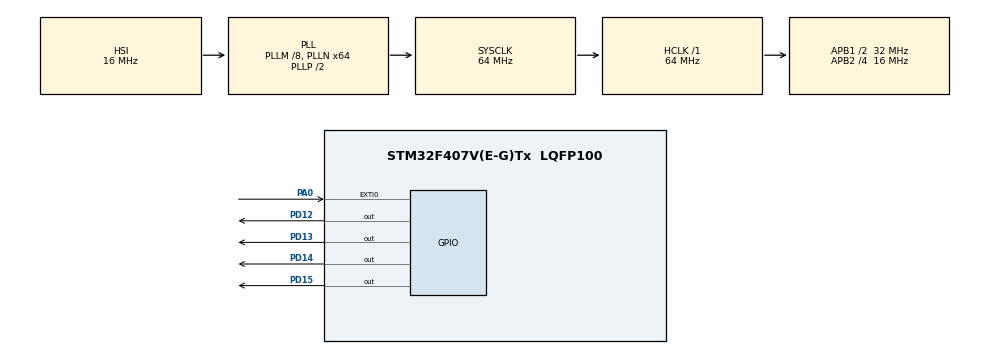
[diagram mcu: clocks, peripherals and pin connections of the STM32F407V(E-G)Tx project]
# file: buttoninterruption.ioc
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Mcu.Family=STM32F4
Mcu.Name=STM32F407V(E-G)Tx
Mcu.Package=LQFP100
NVIC.EXTI0_IRQn=true\:0\:1\:true\:false\:true\:true\:true
NVIC.PriorityGroup=NVIC_PRIORITYGROUP_0
NVIC.TIM8_TRG_COM_TIM14_IRQn=true\:0\:0\:false\:false\:true\:false\:true
NVIC.TimeBase=TIM8_TRG_COM_TIM14_IRQn
NVIC.TimeBaseIP=TIM14
PA0-WKUP.GPIO_ModeDefaultEXTI=GPIO_MODE_IT_FALLING
PA0-WKUP.Signal=GPXTI0
PD12.Signal=GPIO_Output
PD13.Signal=GPIO_Output
PD14.Signal=GPIO_Output
PD15.Signal=GPIO_Output
ProjectManager.HeapSize=0x200
ProjectManager.StackSize=0x400
ProjectManager.TargetToolchain=STM32CubeIDE
RCC.48MHZClocksFreq_Value=18285714.285714287
RCC.AHBFreq_Value=64000000
RCC.APB1CLKDivider=RCC_HCLK_DIV2
RCC.APB1Freq_Value=32000000
RCC.APB1TimFreq_Value=64000000
RCC.APB2CLKDivider=RCC_HCLK_DIV4
RCC.APB2Freq_Value=16000000
RCC.APB2TimFreq_Value=32000000
RCC.CortexFreq_Value=64000000
RCC.HCLKFreq_Value=64000000
RCC.HSE_VALUE=8000000
RCC.HSI_VALUE=16000000
RCC.PLLM=8
RCC.PLLN=64
RCC.PLLQ=7
RCC.SYSCLKFreq_VALUE=64000000
RCC.SYSCLKSource=RCC_SYSCLKSOURCE_PLLCLK
RCC.VCOOutputFreq_Value=128000000
VP_SYS_VS_tim14.Mode=TIM14
board=STM32F407G-DISC1

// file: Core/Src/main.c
/* USER CODE BEGIN Header */
/**
  ******************************************************************************
  * @file           : main.c
  * @brief          : Main program body
  ******************************************************************************
  * @attention
  *
  * <h2><center>&copy; Copyright (c) 2023 STMicroelectronics.
  * All rights reserved.</center></h2>
  *
  * This software component is licensed by ST under BSD 3-Clause license,
  * the "License"; You may not use this file except in compliance with the
  * License. You may obtain a copy of the License at:
  *                        opensource.org/licenses/BSD-3-Clause
  *
  ******************************************************************************
  */
/* USER CODE END Header */
#include "main.h"

void SystemClock_Config(void);
static void MX_GPIO_Init(void);
/* USER CODE BEGIN PFP */
uint8_t modeselection = 0 ;
/* USER CODE END PFP */

/* USER CODE BEGIN 0 */
void HAL_GPIO_EXTI_Callback(uint16_t GPIO_Pin)
{
  /* Prevent unused argument(s) compilation warning */
  UNUSED(GPIO_Pin);
  /* NOTE: This function Should not be modified, when the callback is needed,
           the HAL_GPIO_EXTI_Callback could be implemented in the user file
   */
  if (GPIO_Pin == GPIO_PIN_0) {
	  modeselection ++ ;
	  if (modeselection > 4) {
		  modeselection = 0 ;

	}
}
}
/* USER CODE END 0 */

int main(void)
{

  /* MCU Configuration--------------------------------------------------------*/

  /* Reset of all peripherals, Initializes the Flash interface and the Systick. */
  HAL_Init();

  /* Configure the system clock */
  SystemClock_Config();

  /* Initialize all configured peripherals */
  MX_GPIO_Init();

  /* Infinite loop */
  while (1)
  {

    /* USER CODE BEGIN 3 */
	  if (modeselection == 0 ) {
		  HAL_GPIO_WritePin(GPIOD, GPIO_PIN_12|GPIO_PIN_13|GPIO_PIN_14|GPIO_PIN_15, GPIO_PIN_RESET);
		  HAL_GPIO_WritePin(GPIOD, GPIO_PIN_12, GPIO_PIN_SET);
		  HAL_Delay(500);

	} else if (modeselection == 1) {
		  HAL_GPIO_WritePin(GPIOD, GPIO_PIN_12, GPIO_PIN_RESET);
		  HAL_GPIO_WritePin(GPIOD, GPIO_PIN_13, GPIO_PIN_SET);
	      HAL_Delay(500);

	}else if (modeselection == 2) {
		  HAL_GPIO_WritePin(GPIOD, GPIO_PIN_13, GPIO_PIN_RESET);
		  HAL_GPIO_WritePin(GPIOD, GPIO_PIN_14, GPIO_PIN_SET);
	      HAL_Delay(500);
	}else if (modeselection == 3) {
		  HAL_GPIO_WritePin(GPIOD, GPIO_PIN_14, GPIO_PIN_RESET);
		  HAL_GPIO_WritePin(GPIOD, GPIO_PIN_15, GPIO_PIN_SET);
	      HAL_Delay(500);
	}else if (modeselection == 4) {
		HAL_GPIO_WritePin(GPIOD, GPIO_PIN_15, GPIO_PIN_RESET);
		HAL_GPIO_WritePin(GPIOD, GPIO_PIN_12|GPIO_PIN_13|GPIO_PIN_14|GPIO_PIN_15, GPIO_PIN_SET);
		  HAL_Delay(500);

	}
  }
  /* USER CODE END 3 */
}

void SystemClock_Config(void)
{
  RCC_OscInitTypeDef RCC_OscInitStruct = {0};
  RCC_ClkInitTypeDef RCC_ClkInitStruct = {0};

  /** Configure the main internal regulator output voltage
  */
  __HAL_RCC_PWR_CLK_ENABLE();
  __HAL_PWR_VOLTAGESCALING_CONFIG(PWR_REGULATOR_VOLTAGE_SCALE1);
  /** Initializes the RCC Oscillators according to the specified parameters
  * in the RCC_OscInitTypeDef structure.
  */
  RCC_OscInitStruct.OscillatorType = RCC_OSCILLATORTYPE_HSI;
  RCC_OscInitStruct.HSIState = RCC_HSI_ON;
  RCC_OscInitStruct.HSICalibrationValue = RCC_HSICALIBRATION_DEFAULT;
  RCC_OscInitStruct.PLL.PLLState = RCC_PLL_ON;
  RCC_OscInitStruct.PLL.PLLSource = RCC_PLLSOURCE_HSI;
  RCC_OscInitStruct.PLL.PLLM = 8;
  RCC_OscInitStruct.PLL.PLLN = 64;
  RCC_OscInitStruct.PLL.PLLP = RCC_PLLP_DIV2;
  RCC_OscInitStruct.PLL.PLLQ = 7;
  if (HAL_RCC_OscConfig(&RCC_OscInitStruct) != HAL_OK)
  {
    Error_Handler();
  }
  /** Initializes the CPU, AHB and APB buses clocks
  */
  RCC_ClkInitStruct.ClockType = RCC_CLOCKTYPE_HCLK|RCC_CLOCKTYPE_SYSCLK
                              |RCC_CLOCKTYPE_PCLK1|RCC_CLOCKTYPE_PCLK2;
  RCC_ClkInitStruct.SYSCLKSource = RCC_SYSCLKSOURCE_PLLCLK;
  RCC_ClkInitStruct.AHBCLKDivider = RCC_SYSCLK_DIV1;
  RCC_ClkInitStruct.APB1CLKDivider = RCC_HCLK_DIV2;
  RCC_ClkInitStruct.APB2CLKDivider = RCC_HCLK_DIV4;

  if (HAL_RCC_ClockConfig(&RCC_ClkInitStruct, FLASH_LATENCY_2) != HAL_OK)
  {
    Error_Handler();
  }
}

static void MX_GPIO_Init(void)
{
  GPIO_InitTypeDef GPIO_InitStruct = {0};

  /* GPIO Ports Clock Enable */
  __HAL_RCC_GPIOA_CLK_ENABLE();
  __HAL_RCC_GPIOD_CLK_ENABLE();

  /*Configure GPIO pin Output Level */
  HAL_GPIO_WritePin(GPIOD, GPIO_PIN_12|GPIO_PIN_13|GPIO_PIN_14|GPIO_PIN_15, GPIO_PIN_RESET);

  /*Configure GPIO pin : PA0 */
  GPIO_InitStruct.Pin = GPIO_PIN_0;
  GPIO_InitStruct.Mode = GPIO_MODE_IT_FALLING;
  GPIO_InitStruct.Pull = GPIO_NOPULL;
  HAL_GPIO_Init(GPIOA, &GPIO_InitStruct);

  /*Configure GPIO pins : PD12 PD13 PD14 PD15 */
  GPIO_InitStruct.Pin = GPIO_PIN_12|GPIO_PIN_13|GPIO_PIN_14|GPIO_PIN_15;
  GPIO_InitStruct.Mode = GPIO_MODE_OUTPUT_PP;
  GPIO_InitStruct.Pull = GPIO_NOPULL;
  GPIO_InitStruct.Speed = GPIO_SPEED_FREQ_LOW;
  HAL_GPIO_Init(GPIOD, &GPIO_InitStruct);

  /* EXTI interrupt init*/
  HAL_NVIC_SetPriority(EXTI0_IRQn, 0, 1);
  HAL_NVIC_EnableIRQ(EXTI0_IRQn);

}

void HAL_TIM_PeriodElapsedCallback(TIM_HandleTypeDef *htim)
{
  if (htim->Instance == TIM14) {
    HAL_IncTick();
  }
}

void Error_Handler(void)
{
  __disable_irq();
  while (1)
  {
  }
}

/************************ (C) COPYRIGHT STMicroelectronics *****END OF FILE****/
